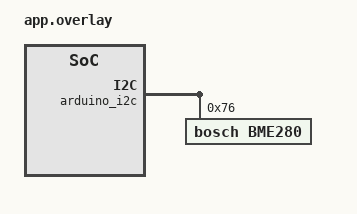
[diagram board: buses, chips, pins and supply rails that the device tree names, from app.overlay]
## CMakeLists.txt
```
cmake_minimum_required(VERSION 3.20.0)

find_package(Zephyr REQUIRED HINTS $ENV{ZEPHYR_BASE})
project(pulsecore)

target_sources(app PRIVATE src/main.c)
```

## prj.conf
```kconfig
CONFIG_PRINTK=y
CONFIG_CONSOLE=y
CONFIG_SERIAL=y

CONFIG_I2C=y
CONFIG_SENSOR=y
CONFIG_BME280=y

CONFIG_LOG=y
CONFIG_SENSOR_LOG_LEVEL_DBG=y
CONFIG_I2C_LOG_LEVEL_DBG=y
```

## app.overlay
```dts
&arduino_i2c {
    status = "okay";

    bme280: bme280@76 {
        compatible = "bosch,bme280";
        reg = <0x76>;
        status = "okay";
    };
};
```

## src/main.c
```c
#include <zephyr/kernel.h>
#include <zephyr/device.h>
#include <zephyr/drivers/sensor.h>
#include <zephyr/sys/printk.h>

#define BME280_NODE DT_NODELABEL(bme280)

struct sensor_data {
    struct sensor_value temperature;
    struct sensor_value humidity;
    struct sensor_value pressure;
};

K_MSGQ_DEFINE(sensor_msgq, sizeof(struct sensor_data), 10, 4);
static uint32_t samples_produced = 0;
static uint32_t samples_transmitted = 0;

K_MUTEX_DEFINE(stats_mutex);

void sensor_thread(void)
{
    const struct device *bme280 = DEVICE_DT_GET(BME280_NODE);
    uint32_t consecutive_failures = 0;

    while (1) {
        struct sensor_data data;

        int ret = sensor_sample_fetch(bme280);

        if (ret != 0) {
            consecutive_failures++;

            printk("PulseCore: Sensor read failed (%d), consecutive failures: %u\n",
                ret, consecutive_failures);

            if (consecutive_failures == 3) {
                printk("PulseCore ERROR: Sensor communication problem\n");
            }

            k_sleep(K_SECONDS(2));
            continue;
        }

        int channel_ret;

        channel_ret = sensor_channel_get(
            bme280,
            SENSOR_CHAN_AMBIENT_TEMP,
            &data.temperature
        );

        if (channel_ret != 0) {
            consecutive_failures++;
            printk("PulseCore: Temperature read failed (%d)\n", channel_ret);
            k_sleep(K_SECONDS(2));
            continue;
        }

        channel_ret = sensor_channel_get(
            bme280,
            SENSOR_CHAN_HUMIDITY,
            &data.humidity
        );

        if (channel_ret != 0) {
            consecutive_failures++;
            printk("PulseCore: Humidity read failed (%d)\n", channel_ret);
            k_sleep(K_SECONDS(2));
            continue;
        }

        channel_ret = sensor_channel_get(
            bme280,
            SENSOR_CHAN_PRESS,
            &data.pressure
        );

        if (channel_ret != 0) {
            consecutive_failures++;
            printk("PulseCore: Pressure read failed (%d)\n", channel_ret);
            k_sleep(K_SECONDS(2));
            continue;
        }

        // All sensor readings succeeded.
        if (consecutive_failures >= 3) {
            printk("PulseCore: Sensor communication recovered\n");
        }

        consecutive_failures = 0;

        int queue_ret = k_msgq_put(&sensor_msgq, &data, K_FOREVER);

        if (queue_ret != 0) {
            printk("PulseCore: Message queue insertion failed (%d)\n",
                   queue_ret);
        }

        if (queue_ret == 0) {
            k_mutex_lock(&stats_mutex, K_FOREVER);
            samples_produced++;
            k_mutex_unlock(&stats_mutex);
        }

        k_sleep(K_SECONDS(2));
    }
}


void telemetry_thread(void)
{
    struct sensor_data data;

    while (1) {
        int queue_ret = k_msgq_get(&sensor_msgq, &data, K_FOREVER);

        if (queue_ret != 0) {
            printk("PulseCore: Message queue retrieval failed (%d)\n",
                queue_ret);
            continue;
        }

        k_mutex_lock(&stats_mutex, K_FOREVER);
        samples_transmitted++;
        k_mutex_unlock(&stats_mutex);

        printk("TEMP:%d.%06d,HUM:%d.%06d,PRESS:%d.%06d\n",
               data.temperature.val1, data.temperature.val2,
               data.humidity.val1, data.humidity.val2,
               data.pressure.val1, data.pressure.val2);
    }
}

void monitoring_thread(void)
{
    while (1) {
        k_sleep(K_SECONDS(10));

        uint32_t produced;
        uint32_t transmitted;

        k_mutex_lock(&stats_mutex, K_FOREVER);

        produced = samples_produced;
        transmitted = samples_transmitted;

        k_mutex_unlock(&stats_mutex);

        printk(
            "PulseCore Stats: Produced=%u, Transmitted=%u\n",
            produced,
            transmitted
        );
    }
}

#define SENSOR_THREAD_STACK_SIZE 2048
#define TELEMETRY_THREAD_STACK_SIZE 2048

#define SENSOR_THREAD_PRIORITY 5
#define TELEMETRY_THREAD_PRIORITY 5

#define MONITORING_THREAD_STACK_SIZE 2048
#define MONITORING_THREAD_PRIORITY 5

K_THREAD_DEFINE(
    monitoring_thread_id,
    MONITORING_THREAD_STACK_SIZE,
    monitoring_thread,
    NULL, NULL, NULL,
    MONITORING_THREAD_PRIORITY,
    0,
    1
);

K_THREAD_DEFINE(
    sensor_thread_id,
    SENSOR_THREAD_STACK_SIZE,
    sensor_thread,
    NULL, NULL, NULL,
    SENSOR_THREAD_PRIORITY,
    0,
    1
);

K_THREAD_DEFINE(
    telemetry_thread_id,
    TELEMETRY_THREAD_STACK_SIZE,
    telemetry_thread,
    NULL, NULL, NULL,
    TELEMETRY_THREAD_PRIORITY,
    0,
    1
);

int main(void)
{
    const struct device *bme280 = DEVICE_DT_GET(BME280_NODE);

    if (!device_is_ready(bme280)) {
        printk("PulseCore: BME280 device not ready\n");
        return 0;
    }

    printk("PulseCore: BME280 initialized\n");

    k_thread_start(sensor_thread_id);
    k_thread_start(telemetry_thread_id);
    k_thread_start(monitoring_thread_id);

    printk("PulseCore: RTOS threads started\n");

    return 0;
}
```
